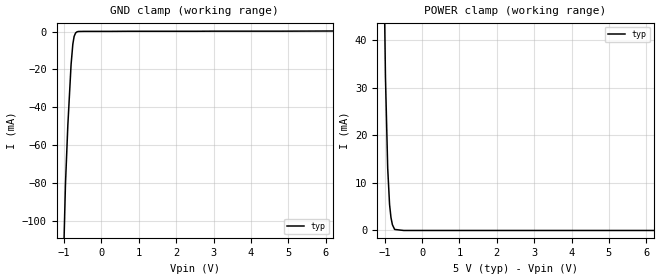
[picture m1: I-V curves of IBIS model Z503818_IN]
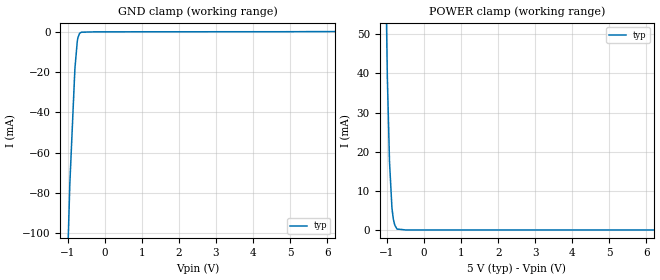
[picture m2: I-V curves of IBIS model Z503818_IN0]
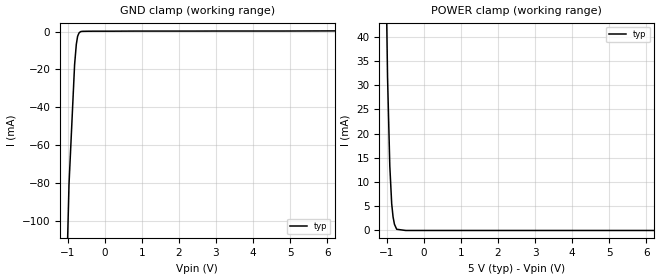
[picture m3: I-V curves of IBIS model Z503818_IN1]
| YOU ARE ONLY AUTHORIZED TO USE THIS SOFTWARE
| ACCORDING TO LICENSOR'S LICENSE RESTRICTIONS.
[IBIS Ver] 3.1
[File Name] mc74ac74n_5.ibs
[File Rev] 2.0
[Source] Measured and created by ICX Technology
[Date] Friday 7/14/00 9:08:00 AM
[Copyright]
| (C) COPYRIGHT 1993-2000
| MENTOR GRAPHICS CORPORATION
| ICX STANDARD LIBRARY, ICX PROJECT MODELING,
| ICX CUSTOM MODELING, ICX VENDOR MODEL
| ALL RIGHTS RESERVED.
| THE FOLLOWING ARE TRADEMARKS OR SERVICE MARKS OF
| MENTOR GRAPHICS CORPORATION:ICX (R), ICX STANDARD
| LIBRARY(R), ICX PROJECT MODELING(R), ICX CUSTOM
| MODELING(R), qualityIBIS(TM), MODELVIEWER(TM),
| AND MODELEDITOR(TM)
| ALL COPIES OF SOFTWARE, INCLUDING BUT NOT LIMITED TO
| ANY MODIFICATIONS, ENHANCEMENTS OR DERIVATIVE WORKS,
| MUST CONTAIN ALL MENTOR GRAPHICS CORPORATION'S
| NOTICES AND LEGENDS, INCLUDING THOSE EMBEDDED IN
| SOFTWARE AND THOSE AFFIXED TO SOFTWARE MEDIUM
| AND CONTAINER, AS RECEIVED FROM MENTOR GRAPHICS
| CORPORATION.
|  ZAP Model Builder 2.7
[Component] MC74AC74N_5
[Manufacturer] OnSemiconductor
[Package]
| variable   typ   min   max
R_pkg  .21ohms NA NA
L_pkg  4.543nH NA NA
C_pkg  1.059pF NA NA
[Pin] signal_name  model_name  R_pin  L_pin C_pin
1 _CLR Z503818_IN0 .22 6.757n 1.432p
2 D Z503818_IN .212 4.757n 1.142p
3 CLK Z503818_IN1 .204 3.257n .852p
4 _PRE Z503818_IN2 .196 2.257n .562p
5 Q Z503818_OUT .204 3.257n .852p
6 _Q Z503818_OUT0 .212 4.757n 1.142p
7 GND GND .22 6.757n 1.432p
8 _Q Z503818_OUT0 .22 6.757n 1.432p
9 Q Z503818_OUT .212 4.757n 1.142p
10 _PRE Z503818_IN2 .204 3.257n .852p
11 CLK Z503818_IN1 .196 2.257n .562p
12 D Z503818_IN .204 3.257n .852p
13 _CLR Z503818_IN0 .212 4.757n 1.142p
14 VCC POWER .22 6.757n 1.432p
| Models and submodels in the file (6): Z503818_IN (Input), Z503818_IN0 (Input), Z503818_IN1 (Input), Z503818_IN2 (Input), Z503818_OUT (Output), Z503818_OUT0 (Output)
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| (C) COPYRIGHT 1993-2000
| MENTOR GRAPHICS CORPORATION
| ICX STANDARD LIBRARY, ICX PROJECT MODELING,
| ICX CUSTOM MODELING, ICX VENDOR MODEL
| ALL RIGHTS RESERVED.
| THE FOLLOWING ARE TRADEMARKS OR SERVICE MARKS OF
| MENTOR GRAPHICS CORPORATION:ICX (R), ICX STANDARD
| LIBRARY(R), ICX PROJECT MODELING(R), ICX CUSTOM
| MODELING(R), qualityIBIS(TM), MODELVIEWER(TM),
| AND MODELEDITOR(TM)
| ALL COPIES OF SOFTWARE, INCLUDING BUT NOT LIMITED TO
| ANY MODIFICATIONS, ENHANCEMENTS OR DERIVATIVE WORKS,
| MUST CONTAIN ALL MENTOR GRAPHICS CORPORATION'S
| NOTICES AND LEGENDS, INCLUDING THOSE EMBEDDED IN
| SOFTWARE AND THOSE AFFIXED TO SOFTWARE MEDIUM
| AND CONTAINER, AS RECEIVED FROM MENTOR GRAPHICS
| CORPORATION.
| Model Application Version 1.89 2/18/99.
[Model] Z503818_IN
Model_type Input
Vinl = 1.500V
Vinh = 3.500V
C_comp 4.000pF NA NA
| variable typ   min   max
[Voltage Range] 5.000V NA NA
[GND Clamp Reference] 0.000V NA NA
[POWER Clamp Reference] 5.000V NA NA
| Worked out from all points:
|   GND clamp passes 1 mA (typ) near -0.70 V on its own axis
|   POWER clamp passes 1 mA (typ) near -0.78 V on its own axis
[GND Clamp]
-5V       -3.212A    NA         NA
-961.3mV  -80.93mA   NA         NA
-897.6mV  -49.62mA   NA         NA
-810.5mV  -17.37mA   NA         NA
-763.8mV  -6.625mA   NA         NA
-729.5mV  -2.541mA   NA         NA
-687mV    -633.3uA   NA         NA
-648.5mV  -49.26uA   NA         NA
10V       589.9uA    NA         NA
[POWER Clamp]
-5V       3.471A     NA         NA
-1.103V   103.7mA    NA         NA
-978mV    32.27mA    NA         NA
-918mV    13.11mA    NA         NA
-868mV    5.447mA    NA         NA
-830mV    2.696mA    NA         NA
-792mV    1.21mA     NA         NA
-732mV    218.1uA    NA         NA
-488mV    0A         NA         NA
10V       0A         NA         NA
| (C) COPYRIGHT 1993-2000
| MENTOR GRAPHICS CORPORATION
| ICX STANDARD LIBRARY, ICX PROJECT MODELING,
| ICX CUSTOM MODELING, ICX VENDOR MODEL
| ALL RIGHTS RESERVED.
| THE FOLLOWING ARE TRADEMARKS OR SERVICE MARKS OF
| MENTOR GRAPHICS CORPORATION:ICX (R), ICX STANDARD
| LIBRARY(R), ICX PROJECT MODELING(R), ICX CUSTOM
| MODELING(R), qualityIBIS(TM), MODELVIEWER(TM),
| AND MODELEDITOR(TM)
| ALL COPIES OF SOFTWARE, INCLUDING BUT NOT LIMITED TO
| ANY MODIFICATIONS, ENHANCEMENTS OR DERIVATIVE WORKS,
| MUST CONTAIN ALL MENTOR GRAPHICS CORPORATION'S
| NOTICES AND LEGENDS, INCLUDING THOSE EMBEDDED IN
| SOFTWARE AND THOSE AFFIXED TO SOFTWARE MEDIUM
| AND CONTAINER, AS RECEIVED FROM MENTOR GRAPHICS
| CORPORATION.
| Model Application Version 1.89 2/18/99.
[Model] Z503818_IN0
Model_type Input
Vinl = 1.500V
Vinh = 3.500V
C_comp 4.000pF NA NA
| variable typ   min   max
[Voltage Range] 5.000V NA NA
[GND Clamp Reference] 0.000V NA NA
[POWER Clamp Reference] 5.000V NA NA
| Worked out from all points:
|   GND clamp passes 1 mA (typ) near -0.69 V on its own axis
|   POWER clamp passes 1 mA (typ) near -0.78 V on its own axis
[GND Clamp]
-5V       -2.787A    NA         NA
-1.019V   -121.7mA   NA         NA
-947.2mV  -75.84mA   NA         NA
-810.4mV  -18.35mA   NA         NA
-746.9mV  -4.703mA   NA         NA
-729.7mV  -2.808mA   NA         NA
-687.4mV  -730uA     NA         NA
-629mV    31.54uA    NA         NA
10V       599.4uA    NA         NA
[POWER Clamp]
-5V       3.784A     NA         NA
-1.215V   201.7mA    NA         NA
-1.099V   105.8mA    NA         NA
-992mV    39.09mA    NA         NA
-933mV    17.27mA    NA         NA
-867mV    5.528mA    NA         NA
-830mV    2.777mA    NA         NA
-792mV    1.251mA    NA         NA
-732mV    231.9uA    NA         NA
-488mV    0A         NA         NA
10V       0A         NA         NA
| (C) COPYRIGHT 1993-2000
| MENTOR GRAPHICS CORPORATION
| ICX STANDARD LIBRARY, ICX PROJECT MODELING,
| ICX CUSTOM MODELING, ICX VENDOR MODEL
| ALL RIGHTS RESERVED.
| THE FOLLOWING ARE TRADEMARKS OR SERVICE MARKS OF
| MENTOR GRAPHICS CORPORATION:ICX (R), ICX STANDARD
| LIBRARY(R), ICX PROJECT MODELING(R), ICX CUSTOM
| MODELING(R), qualityIBIS(TM), MODELVIEWER(TM),
| AND MODELEDITOR(TM)
| ALL COPIES OF SOFTWARE, INCLUDING BUT NOT LIMITED TO
| ANY MODIFICATIONS, ENHANCEMENTS OR DERIVATIVE WORKS,
| MUST CONTAIN ALL MENTOR GRAPHICS CORPORATION'S
| NOTICES AND LEGENDS, INCLUDING THOSE EMBEDDED IN
| SOFTWARE AND THOSE AFFIXED TO SOFTWARE MEDIUM
| AND CONTAINER, AS RECEIVED FROM MENTOR GRAPHICS
| CORPORATION.
| Model Application Version 1.89 2/18/99.
[Model] Z503818_IN1
Model_type Input
Vinl = 1.500V
Vinh = 3.500V
C_comp 4.000pF NA NA
| variable typ   min   max
[Voltage Range] 5.000V NA NA
[GND Clamp Reference] 0.000V NA NA
[POWER Clamp Reference] 5.000V NA NA
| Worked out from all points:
|   GND clamp passes 1 mA (typ) near -0.70 V on its own axis
|   POWER clamp passes 1 mA (typ) near -0.78 V on its own axis
[GND Clamp]
-5V       -3.194A    NA         NA
-961.4mV  -80.88mA   NA         NA
-810.5mV  -17.49mA   NA         NA
-763.7mV  -6.709mA   NA         NA
-729.7mV  -2.575mA   NA         NA
-687.5mV  -653.9uA   NA         NA
-648.2mV  -64.33uA   NA         NA
10V       513.4uA    NA         NA
[POWER Clamp]
-5V       2.906A     NA         NA
-1.107V   98.67mA    NA         NA
-979mV    31.76mA    NA         NA
-918mV    13.33mA    NA         NA
-867mV    5.543mA    NA         NA
-830mV    2.799mA    NA         NA
-792mV    1.266mA    NA         NA
-732mV    249.8uA    NA         NA
-488mV    0A         NA         NA
10V       0A         NA         NA
